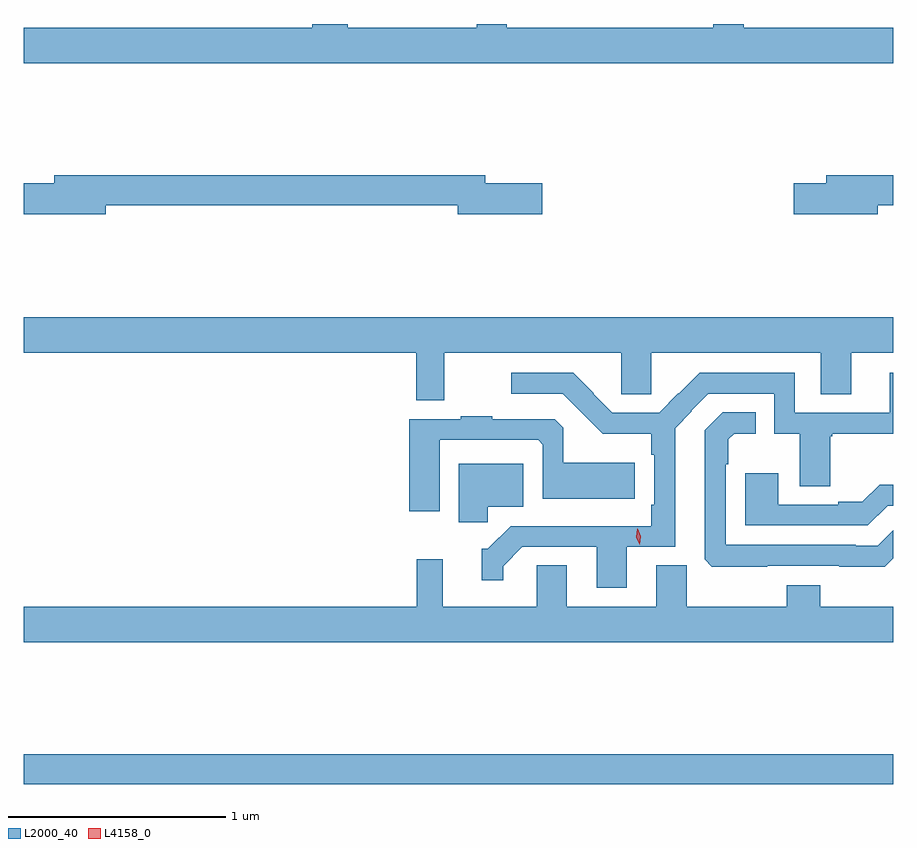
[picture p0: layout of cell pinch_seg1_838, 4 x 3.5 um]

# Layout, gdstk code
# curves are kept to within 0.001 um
import gdstk
lib = gdstk.Library(unit=1e-6, precision=1e-09)
def R(c, l, rs):  # rectangles x0, y0, x1, y1
    for r in rs: c.add(gdstk.rectangle(r[:2], r[2:], *l))
def P(c, l, *ps):  # polygons
    for p in ps: c.add(gdstk.Polygon(p, *l))
L2000_40 = (2000, 40)
L4158_0 = (4158, 0)

pinch_seg1_838 = lib.new_cell('pinch_seg1_838')
R(pinch_seg1_838, L2000_40, [(430.414,531.1,434.414,531.236)])
P(pinch_seg1_838, L2000_40, [(434.414,534.58),(433.726,534.58),(433.726,534.597),(433.587,534.597),(433.587,534.58),(432.637,534.58),(432.637,534.597),(432.497,534.597),(432.497,534.58),(431.905,534.58),(431.905,534.597),(431.741,534.597),(431.741,534.58),(430.414,534.58),(430.414,534.416),(434.414,534.416)],
  [(434.344,533.764),(434.414,533.764),(434.414,533.9),(434.105,533.9),(434.105,533.864),(433.956,533.864),(433.956,533.722),(434.344,533.722)],
  [(430.792,533.764),(432.41,533.764),(432.41,533.722),(432.799,533.722),(432.799,533.864),(432.538,533.864),(432.538,533.9),(430.553,533.9),(430.553,533.864),(430.414,533.864),(430.414,533.722),(430.792,533.722)],
  [(432.349,533.084),(433.164,533.084),(433.164,532.894),(433.301,532.894),(433.301,533.084),(434.081,533.084),(434.081,532.894),(434.221,532.894),(434.221,533.084),(434.414,533.084),(434.414,533.248),(430.414,533.248),(430.414,533.084),(432.22,533.084),(432.22,532.866),(432.349,532.866)],
  [(433.189,532.191),(433.411,532.191),(433.411,532.738),(433.488,532.815),(433.485,532.818),(433.563,532.896),(433.866,532.896),(433.866,532.712),(433.985,532.712),(433.985,532.471),(434.125,532.471),(434.125,532.701),(434.133,532.701),(434.133,532.711),(434.414,532.711),(434.414,532.992),(434.399,532.992),(434.399,532.809),(433.962,532.809),(433.962,532.992),(433.523,532.992),(433.338,532.809),(433.122,532.809),(433.035,532.896),(433.037,532.898),(432.943,532.992),(432.657,532.992),(432.657,532.896),(432.894,532.896),(433.078,532.712),(433.302,532.712),(433.302,532.616),(433.314,532.616),(433.314,532.384),(433.3,532.384),(433.3,532.287),(432.654,532.287),(432.549,532.182),(432.521,532.182),(432.521,532.038),(432.619,532.038),(432.619,532.103),(432.707,532.191),(433.049,532.191),(433.049,532.002),(433.189,532.002)],
  [(433.835,532.104),(434.167,532.104),(434.167,532.1),(434.375,532.1),(434.414,532.139),(434.414,532.268),(434.343,532.197),(434.243,532.197),(434.243,532.2),(433.644,532.2),(433.644,532.571),(433.656,532.571),(433.656,532.686),(433.682,532.712),(433.781,532.712),(433.781,532.811),(433.631,532.811),(433.548,532.728),(433.547,532.133),(433.579,532.1),(433.835,532.1)],
  [(432.328,532.683),(432.78,532.683),(432.801,532.662),(432.801,532.412),(433.225,532.413),(433.225,532.579),(432.897,532.579),(432.897,532.74),(432.858,532.779),(432.569,532.779),(432.569,532.792),(432.424,532.792),(432.424,532.779),(432.188,532.779),(432.188,532.356),(432.328,532.356)],
  [(432.548,532.376),(432.712,532.376),(432.712,532.573),(432.416,532.573),(432.416,532.304),(432.548,532.304)],
  [(434.388,532.38),(434.414,532.38),(434.414,532.478),(434.352,532.478),(434.272,532.398),(434.162,532.398),(434.162,532.386),(433.885,532.386),(433.885,532.531),(433.733,532.531),(433.733,532.29),(434.298,532.29)],
  [(434.414,531.916),(434.079,531.916),(434.079,532.015),(433.924,532.015),(433.924,531.916),(433.465,531.916),(433.465,532.106),(433.325,532.106),(433.325,531.916),(432.913,531.916),(432.913,532.106),(432.774,532.106),(432.774,531.916),(432.341,531.916),(432.341,532.135),(432.223,532.135),(432.223,531.916),(430.414,531.916),(430.414,531.752),(434.414,531.752)])
P(pinch_seg1_838, L4158_0, [(433.247,532.202),(433.247,532.202),(433.232,532.236),(433.237,532.274),(433.238,532.274),(433.238,532.274),(433.252,532.239),(433.247,532.202)])

lib.write_gds('pinch_seg1_838.gds')
